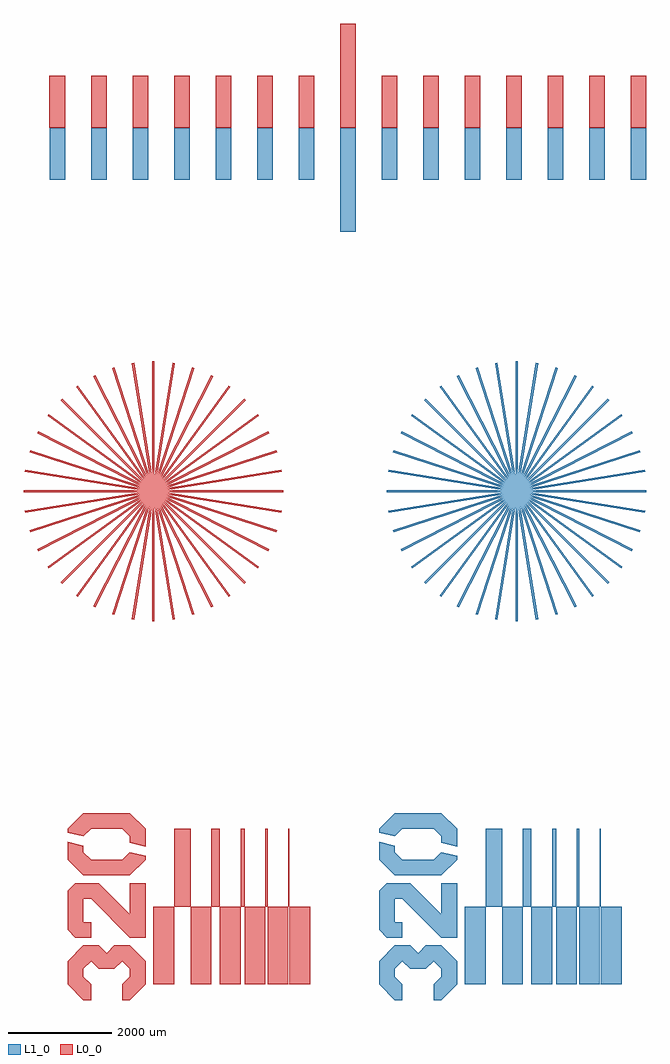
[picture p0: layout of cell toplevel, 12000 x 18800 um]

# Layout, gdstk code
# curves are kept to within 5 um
from math import pi, radians
import gdstk
lib = gdstk.Library(unit=1e-6, precision=1e-09)
def R(c, l, rs):  # rectangles x0, y0, x1, y1
    for r in rs: c.add(gdstk.rectangle(r[:2], r[2:], *l))
def P(c, l, *ps):  # polygons
    for p in ps: c.add(gdstk.Polygon(p, *l))
L0_0 = (0, 0)
L1_0 = (1, 0)

rectangle = lib.new_cell('rectangle')
R(rectangle, L0_0, [(0,0,300,1000)])

rectangle002 = lib.new_cell('rectangle002')
R(rectangle002, L1_0, [(0,0,300,1000)])

litho_calipers = lib.new_cell('litho_calipers')
litho_calipers.add(gdstk.Reference(rectangle, (0,0)))
litho_calipers.add(gdstk.Reference(rectangle002, (0.7,-1000)))
litho_calipers.add(gdstk.Reference(rectangle, (800,0)))
litho_calipers.add(gdstk.Reference(rectangle002, (800.6,-1000)))
litho_calipers.add(gdstk.Reference(rectangle, (1600,0)))
litho_calipers.add(gdstk.Reference(rectangle002, (1600.5,-1000)))
litho_calipers.add(gdstk.Reference(rectangle, (2400,0)))
litho_calipers.add(gdstk.Reference(rectangle002, (2400.4,-1000)))
litho_calipers.add(gdstk.Reference(rectangle, (3200,0)))
litho_calipers.add(gdstk.Reference(rectangle002, (3200.3,-1000)))
litho_calipers.add(gdstk.Reference(rectangle, (4000,0)))
litho_calipers.add(gdstk.Reference(rectangle002, (4000.2,-1000)))
litho_calipers.add(gdstk.Reference(rectangle, (4800,0)))
litho_calipers.add(gdstk.Reference(rectangle002, (4800.1,-1000)))
litho_calipers.add(gdstk.Reference(rectangle, (5600,1000)))
litho_calipers.add(gdstk.Reference(rectangle002, (5600,-2000)))
litho_calipers.add(gdstk.Reference(rectangle, (5600,0)))
litho_calipers.add(gdstk.Reference(rectangle002, (5600,-1000)))
litho_calipers.add(gdstk.Reference(rectangle, (6400,0)))
litho_calipers.add(gdstk.Reference(rectangle002, (6399.9,-1000)))
litho_calipers.add(gdstk.Reference(rectangle, (7200,0)))
litho_calipers.add(gdstk.Reference(rectangle002, (7199.8,-1000)))
litho_calipers.add(gdstk.Reference(rectangle, (8000,0)))
litho_calipers.add(gdstk.Reference(rectangle002, (7999.7,-1000)))
litho_calipers.add(gdstk.Reference(rectangle, (8800,0)))
litho_calipers.add(gdstk.Reference(rectangle002, (8799.6,-1000)))
litho_calipers.add(gdstk.Reference(rectangle, (9600,0)))
litho_calipers.add(gdstk.Reference(rectangle002, (9599.5,-1000)))
litho_calipers.add(gdstk.Reference(rectangle, (10400,0)))
litho_calipers.add(gdstk.Reference(rectangle002, (10399.4,-1000)))
litho_calipers.add(gdstk.Reference(rectangle, (11200,0)))
litho_calipers.add(gdstk.Reference(rectangle002, (11199.3,-1000)))

rectangle003 = lib.new_cell('rectangle003')
R(rectangle003, L0_0, [(0,0,40,5000)])

litho_star = lib.new_cell('litho_star')
litho_star.add(gdstk.Reference(rectangle003, (-20,-2500)))
litho_star.add(gdstk.Reference(rectangle003, (371.332,-2472.35), rotation=radians(9)))
litho_star.add(gdstk.Reference(rectangle003, (753.521,-2383.822), rotation=radians(18)))
litho_star.add(gdstk.Reference(rectangle003, (1117.156,-2236.596), rotation=radians(27)))
litho_star.add(gdstk.Reference(rectangle003, (1453.283,-2034.298), rotation=radians(36)))
litho_star.add(gdstk.Reference(rectangle003, (1753.625,-1781.909), rotation=radians(45)))
litho_star.add(gdstk.Reference(rectangle003, (2010.787,-1485.643), rotation=radians(54)))
litho_star.add(gdstk.Reference(rectangle003, (2218.437,-1152.796), rotation=radians(63)))
litho_star.add(gdstk.Reference(rectangle003, (2371.461,-791.564), rotation=radians(72)))
litho_star.add(gdstk.Reference(rectangle003, (2466.092,-410.84), rotation=radians(81)))
litho_star.add(gdstk.Reference(rectangle003, (2500,-20), rotation=pi/2))
litho_star.add(gdstk.Reference(rectangle003, (2472.35,371.332), rotation=radians(99)))
litho_star.add(gdstk.Reference(rectangle003, (2383.822,753.521), rotation=radians(108)))
litho_star.add(gdstk.Reference(rectangle003, (2236.596,1117.156), rotation=radians(117)))
litho_star.add(gdstk.Reference(rectangle003, (2034.298,1453.283), rotation=radians(126)))
litho_star.add(gdstk.Reference(rectangle003, (1781.909,1753.625), rotation=radians(135)))
litho_star.add(gdstk.Reference(rectangle003, (1485.643,2010.787), rotation=radians(144)))
litho_star.add(gdstk.Reference(rectangle003, (1152.796,2218.437), rotation=radians(153)))
litho_star.add(gdstk.Reference(rectangle003, (791.564,2371.461), rotation=radians(162)))
litho_star.add(gdstk.Reference(rectangle003, (410.84,2466.092), rotation=radians(171)))

rectangle005 = lib.new_cell('rectangle005')
R(rectangle005, L1_0, [(0,0,40,5000)])

litho_star004 = lib.new_cell('litho_star004')
litho_star004.add(gdstk.Reference(rectangle005, (-20,-2500)))
litho_star004.add(gdstk.Reference(rectangle005, (371.332,-2472.35), rotation=radians(9)))
litho_star004.add(gdstk.Reference(rectangle005, (753.521,-2383.822), rotation=radians(18)))
litho_star004.add(gdstk.Reference(rectangle005, (1117.156,-2236.596), rotation=radians(27)))
litho_star004.add(gdstk.Reference(rectangle005, (1453.283,-2034.298), rotation=radians(36)))
litho_star004.add(gdstk.Reference(rectangle005, (1753.625,-1781.909), rotation=radians(45)))
litho_star004.add(gdstk.Reference(rectangle005, (2010.787,-1485.643), rotation=radians(54)))
litho_star004.add(gdstk.Reference(rectangle005, (2218.437,-1152.796), rotation=radians(63)))
litho_star004.add(gdstk.Reference(rectangle005, (2371.461,-791.564), rotation=radians(72)))
litho_star004.add(gdstk.Reference(rectangle005, (2466.092,-410.84), rotation=radians(81)))
litho_star004.add(gdstk.Reference(rectangle005, (2500,-20), rotation=pi/2))
litho_star004.add(gdstk.Reference(rectangle005, (2472.35,371.332), rotation=radians(99)))
litho_star004.add(gdstk.Reference(rectangle005, (2383.822,753.521), rotation=radians(108)))
litho_star004.add(gdstk.Reference(rectangle005, (2236.596,1117.156), rotation=radians(117)))
litho_star004.add(gdstk.Reference(rectangle005, (2034.298,1453.283), rotation=radians(126)))
litho_star004.add(gdstk.Reference(rectangle005, (1781.909,1753.625), rotation=radians(135)))
litho_star004.add(gdstk.Reference(rectangle005, (1485.643,2010.787), rotation=radians(144)))
litho_star004.add(gdstk.Reference(rectangle005, (1152.796,2218.437), rotation=radians(153)))
litho_star004.add(gdstk.Reference(rectangle005, (791.564,2371.461), rotation=radians(162)))
litho_star004.add(gdstk.Reference(rectangle005, (410.84,2466.092), rotation=radians(171)))

text = lib.new_cell('text')
P(text, L0_0, [(-1050,1500),(-750,1200),(-750,900),(-900,750),(-750,600),(-750,300),(-1050,0),(-1500,0),(-1800,300),(-1800,450),(-1500,450),(-1350,300),(-1200,300),(-1050,450),(-1200,600),(-1200,900),(-1050,1050),(-1200,1200),(-1350,1200),(-1500,1050),(-1800,1050),(-1800,1200),(-1500,1500)],
  [(-600,1350),(-450,1500),(300,1500),(450,1350),(450,900),(-150,300),(450,300),(450,0),(-600,0),(-600,300),(150,1050),(150,1200),(-300,1200),(-300,1050),(-600,1050)],
  [(1050,1200),(900,1050),(900,450),(1050,300),(975,0),(900,0),(600,300),(600,1200),(900,1500),(1245,1500),(1170,1200),(1050,1200)],
  [(1350,300),(1500,450),(1500,1050),(1350,1200),(1425,1500),(1500,1500),(1800,1200),(1800,300),(1500,0),(1155,0),(1230,300),(1350,300)])

rectangle006 = lib.new_cell('rectangle006')
R(rectangle006, L0_0, [(0,0,400,1500)])

rectangle007 = lib.new_cell('rectangle007')
R(rectangle007, L0_0, [(0,0,320,1500)])

rectangle008 = lib.new_cell('rectangle008')
R(rectangle008, L0_0, [(0,0,160,1500)])

rectangle009 = lib.new_cell('rectangle009')
R(rectangle009, L0_0, [(0,0,80,1500)])

rectangle010 = lib.new_cell('rectangle010')
R(rectangle010, L0_0, [(0,0,40,1500)])

rectangle011 = lib.new_cell('rectangle011')
R(rectangle011, L0_0, [(0,0,20,1500)])

litho_steps = lib.new_cell('litho_steps')
litho_steps.add(gdstk.Reference(text, (-150,0), rotation=pi/2))
litho_steps.add(gdstk.Reference(rectangle006, (0,-1500)))
litho_steps.add(gdstk.Reference(rectangle006, (720,-1500)))
litho_steps.add(gdstk.Reference(rectangle007, (400,0)))
litho_steps.add(gdstk.Reference(rectangle006, (1280,-1500)))
litho_steps.add(gdstk.Reference(rectangle008, (1120,0)))
litho_steps.add(gdstk.Reference(rectangle006, (1760,-1500)))
litho_steps.add(gdstk.Reference(rectangle009, (1680,0)))
litho_steps.add(gdstk.Reference(rectangle006, (2200,-1500)))
litho_steps.add(gdstk.Reference(rectangle010, (2160,0)))
litho_steps.add(gdstk.Reference(rectangle006, (2620,-1500)))
litho_steps.add(gdstk.Reference(rectangle011, (2600,0)))

text013 = lib.new_cell('text013')
P(text013, L1_0, [(-1050,1500),(-750,1200),(-750,900),(-900,750),(-750,600),(-750,300),(-1050,0),(-1500,0),(-1800,300),(-1800,450),(-1500,450),(-1350,300),(-1200,300),(-1050,450),(-1200,600),(-1200,900),(-1050,1050),(-1200,1200),(-1350,1200),(-1500,1050),(-1800,1050),(-1800,1200),(-1500,1500)],
  [(-600,1350),(-450,1500),(300,1500),(450,1350),(450,900),(-150,300),(450,300),(450,0),(-600,0),(-600,300),(150,1050),(150,1200),(-300,1200),(-300,1050),(-600,1050)],
  [(1050,1200),(900,1050),(900,450),(1050,300),(975,0),(900,0),(600,300),(600,1200),(900,1500),(1245,1500),(1170,1200),(1050,1200)],
  [(1350,300),(1500,450),(1500,1050),(1350,1200),(1425,1500),(1500,1500),(1800,1200),(1800,300),(1500,0),(1155,0),(1230,300),(1350,300)])

rectangle014 = lib.new_cell('rectangle014')
R(rectangle014, L1_0, [(0,0,400,1500)])

rectangle015 = lib.new_cell('rectangle015')
R(rectangle015, L1_0, [(0,0,320,1500)])

rectangle016 = lib.new_cell('rectangle016')
R(rectangle016, L1_0, [(0,0,160,1500)])

rectangle017 = lib.new_cell('rectangle017')
R(rectangle017, L1_0, [(0,0,80,1500)])

rectangle018 = lib.new_cell('rectangle018')
R(rectangle018, L1_0, [(0,0,40,1500)])

rectangle019 = lib.new_cell('rectangle019')
R(rectangle019, L1_0, [(0,0,20,1500)])

litho_steps012 = lib.new_cell('litho_steps012')
litho_steps012.add(gdstk.Reference(text013, (-150,0), rotation=pi/2))
litho_steps012.add(gdstk.Reference(rectangle014, (0,-1500)))
litho_steps012.add(gdstk.Reference(rectangle014, (720,-1500)))
litho_steps012.add(gdstk.Reference(rectangle015, (400,0)))
litho_steps012.add(gdstk.Reference(rectangle014, (1280,-1500)))
litho_steps012.add(gdstk.Reference(rectangle016, (1120,0)))
litho_steps012.add(gdstk.Reference(rectangle014, (1760,-1500)))
litho_steps012.add(gdstk.Reference(rectangle017, (1680,0)))
litho_steps012.add(gdstk.Reference(rectangle014, (2200,-1500)))
litho_steps012.add(gdstk.Reference(rectangle018, (2160,0)))
litho_steps012.add(gdstk.Reference(rectangle014, (2620,-1500)))
litho_steps012.add(gdstk.Reference(rectangle019, (2600,0)))

toplevel = lib.new_cell('toplevel')
toplevel.add(gdstk.Reference(litho_calipers, (25000,0)))
toplevel.add(gdstk.Reference(litho_star, (27000,-7000)))
toplevel.add(gdstk.Reference(litho_star004, (34000,-7000)))
toplevel.add(gdstk.Reference(litho_steps, (27000,-15000)))
toplevel.add(gdstk.Reference(litho_steps012, (33000,-15000)))

lib.write_gds('toplevel.gds')
